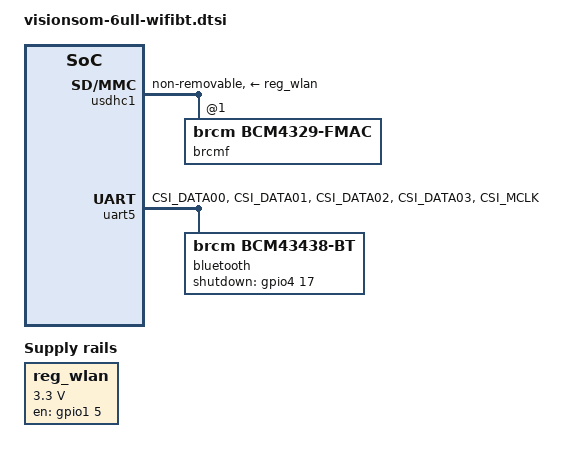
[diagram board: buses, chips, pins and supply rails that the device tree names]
/*
 * This program is free software; you can redistribute it and/or modify
 * it under the terms of the GNU General Public License version 2 as
 * published by the Free Software Foundation.
 */

/ {
	regulators {
		reg_wlan: regulator-wlan {
			compatible = "regulator-fixed";
			regulator-name = "reg_wlan";
			pinctrl-names = "default";
			pinctrl-0 = <&pinctrl_regwlan>;
			regulator-min-microvolt = <3300000>;
			regulator-max-microvolt = <3300000>;
			gpio = <&gpio1 5 0>;
			startup-delay-us = <100>;
			enable-active-high;
		};
	};
};

&iomuxc {
    visionsom6ull-wifibt {
	pinctrl_regwlan: regwlangrp {
		fsl,pins = <
			MX6UL_PAD_GPIO1_IO05__GPIO1_IO05    0x17059
		>;
	};

	pinctrl_uart5: uart5grp {
		fsl,pins = <
			MX6UL_PAD_CSI_DATA00__UART5_DCE_TX  0x1b0b1
			MX6UL_PAD_CSI_DATA01__UART5_DCE_RX  0x1b0b1
			MX6UL_PAD_CSI_DATA02__UART5_DCE_RTS 0x1b0b1
			MX6UL_PAD_CSI_DATA03__UART5_DCE_CTS 0x1b0b1
			MX6UL_PAD_CSI_MCLK__GPIO4_IO17      0x17059   /* bluetooth module on/off" */
		>;
	};
    };
};

/* SDIO WiFi */
&usdhc1 {	
	pinctrl-names = "default", "state_100mhz", "state_200mhz";
	pinctrl-0 = <&pinctrl_usdhc1>;
	pinctrl-1 = <&pinctrl_usdhc1_100mhz>;
	pinctrl-2 = <&pinctrl_usdhc1_200mhz>;
	no-1-8-v;
	non-removable;
	cd-post;
	pm-ignore-notify;
	wifi-host;
	keep-power-in-suspend;
	enable-sdio-wakeup;
	vmmc-supply = <&reg_wlan>;
	status = "okay";
        
        brcmf: bcrmf@1 {
		reg = <1>;
		compatible = "brcm,bcm4329-fmac";
	};
};

/* Bluetooth */
&uart5 {
        pinctrl-names = "default";
        pinctrl-0 = <&pinctrl_uart5>;
        fsl,uart-has-rtscts;
        dma-names = "", "";
        status = "okay";

        bluetooth {
                compatible = "brcm,bcm43438-bt";
                max-speed = <3000000>;
                shutdown-gpios = <&gpio4 17 GPIO_ACTIVE_HIGH>;
        };
};
